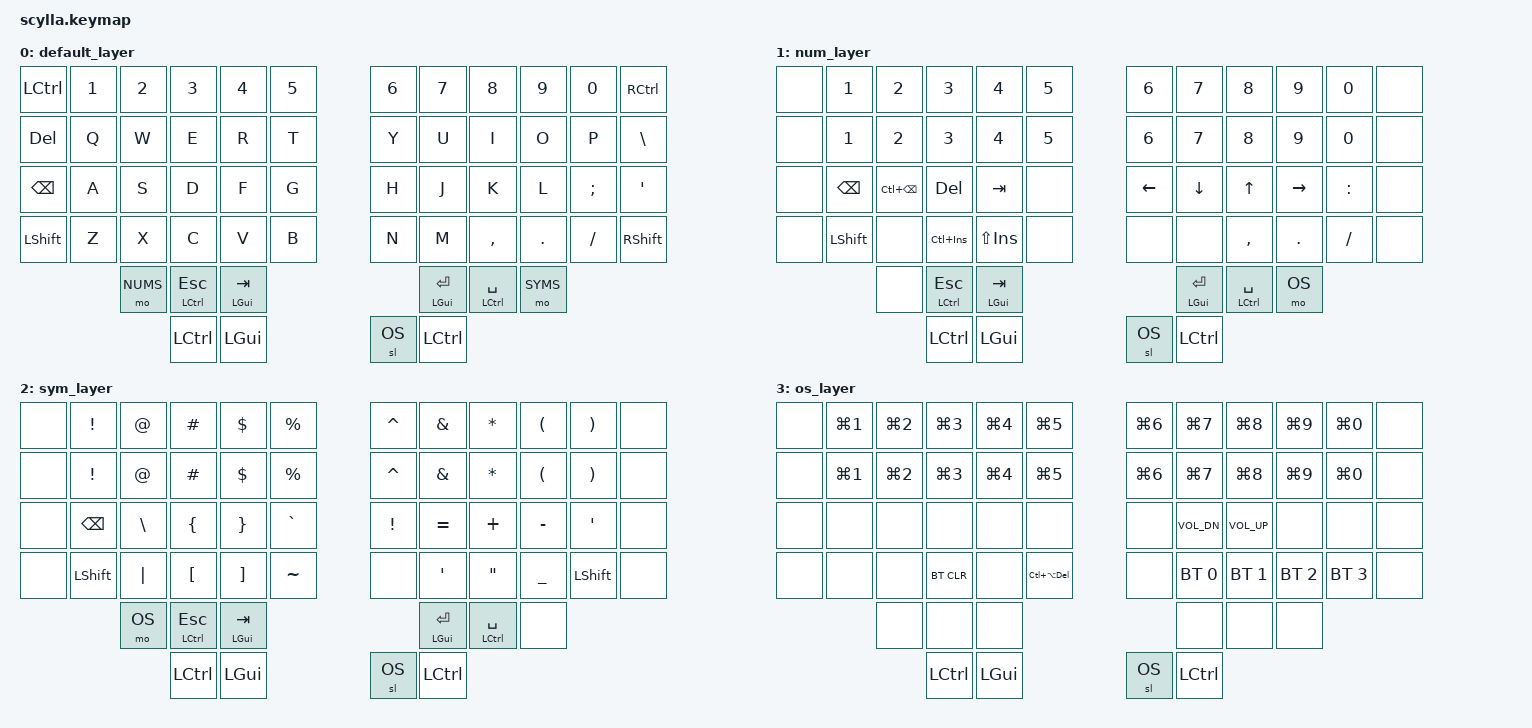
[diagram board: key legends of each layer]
#include <behaviors.dtsi>
#include <dt-bindings/zmk/keys.h>
#include <dt-bindings/zmk/bt.h>
#include <dt-bindings/zmk/outputs.h>

#define DEFAULT 0
#define NUMS 1
#define SYMS 2
#define OS   3
#define GAME 4

#define HYPER(key) LS(LC(LA(LG(key))))
#define MEH(key)   LS(LC(LA(key)))

&sl {
    release-after-ms = <2000>;
};

/ {
    behaviors {        

        ht: hold_tap {
        compatible = "zmk,behavior-hold-tap";            
        label = "POSITIONAL_HOLD_TAP";
        #binding-cells = <2>;
        flavor = "tap-preferred";
        tapping-term-ms = <200>;
        quick-tap-ms = <200>;            
        bindings = <&kp>, <&kp>;            
        };
    };

    keymap {
        compatible = "zmk,keymap";

        default_layer {
            bindings = <
    &kp LCTRL &kp N1    &kp N2   &kp N3    &kp N4    &kp N5                   &kp N6    &kp N7    &kp N8    &kp N9    &kp N0   &kp RCTRL
    &kp DEL   &kp Q     &kp W    &kp E     &kp R     &kp T                    &kp Y     &kp U     &kp I     &kp O     &kp P    &kp BSLH
    &kp BSPC  &kp A     &kp S    &kp D     &kp F     &kp G                    &kp H     &kp J     &kp K     &kp L     &kp SEMI &kp SQT
    &kp LSHFT &kp Z     &kp X    &kp C     &kp V     &kp B                    &kp N     &kp M     &kp COMMA &kp DOT   &kp FSLH &kp RSHFT
                      &mo NUMS  &ht LCTRL ESC   &ht LGUI TAB                  &ht LGUI RET   &ht LCTRL SPC  &mo SYMS
                                 &kp LCTRL &kp LGUI                           &sl OS     &kp LCTRL
            >;
        };

        num_layer {
            bindings = <
&none &kp N1     &kp N2       &kp N3      &kp N4      &kp N5      &kp N6     &kp N7     &kp N8   &kp N9      &kp N0    &none
&none &kp N1     &kp N2       &kp N3      &kp N4      &kp N5      &kp N6     &kp N7     &kp N8   &kp N9      &kp N0    &none
&none &kp BSPC   &kp LC(BSPC) &kp DEL     &kp TAB     &none       &kp LEFT   &kp DOWN   &kp UP   &kp RIGHT   &kp COLON &none  
&none &kp LSHIFT &none        &kp LC(INS) &kp LS(INS) &none       &none      &none   &kp COMMA   &kp DOT   &kp FSLH &none
             &none &ht LCTRL ESC   &ht LGUI TAB             &ht LGUI RET   &ht LCTRL SPC  &mo OS
                                 &kp LCTRL &kp LGUI                           &sl OS     &kp LCTRL
            >;
        };

        sym_layer {
            bindings = <
&none &kp EXCL &kp AT   &kp HASH &kp DLLR &kp PRCNT              &kp CARET &kp AMPS     &kp STAR  &kp LPAR    &kp RPAR    &none
&none &kp EXCL &kp AT   &kp HASH &kp DLLR &kp PRCNT              &kp CARET &kp AMPS     &kp STAR  &kp LPAR    &kp RPAR    &none
&none &kp BSPC &kp BSLH   &kp LBRC   &kp RBRC   &kp GRAVE           &kp EXCL  &kp EQUAL    &kp PLUS  &kp MINUS   &kp SQT  &none
&none &kp LSHIFT &kp PIPE   &kp LBKT   &kp RBKT   &kp TILDE         &none     &kp SQT      &kp DQT   &kp UNDER   &kp LSHIFT &none
                 &mo OS     &ht LCTRL ESC &ht LGUI TAB     &ht LGUI RET   &ht LCTRL SPC  &none
                                 &kp LCTRL &kp LGUI                           &sl OS     &kp LCTRL
            >;
        }; 

        os_layer {
            bindings = <
&none &kp LG(N1)  &kp LG(N2) &kp LG(N3) &kp LG(N4) &kp LG(N5)         &kp LG(N6) &kp LG(N7)     &kp LG(N8)   &kp LG(N9)   &kp LG(N0) &none 
&none &kp LG(N1)  &kp LG(N2) &kp LG(N3) &kp LG(N4) &kp LG(N5)         &kp LG(N6) &kp LG(N7)     &kp LG(N8)   &kp LG(N9)   &kp LG(N0) &none 
&none &none   &none   &none   &none   &none                           &none      &kp C_VOL_DN &kp C_VOL_UP        &none        &none &none  
&none &none   &none   &bt BT_CLR   &none   &kp LC(LA(DEL))            &none      &bt BT_SEL 0   &bt BT_SEL 1 &bt BT_SEL 2 &bt BT_SEL 3 &none   
                             &none   &none   &none              &none   &none   &none   
                                 &kp LCTRL &kp LGUI                           &sl OS     &kp LCTRL
            >;
        };
    };
};
